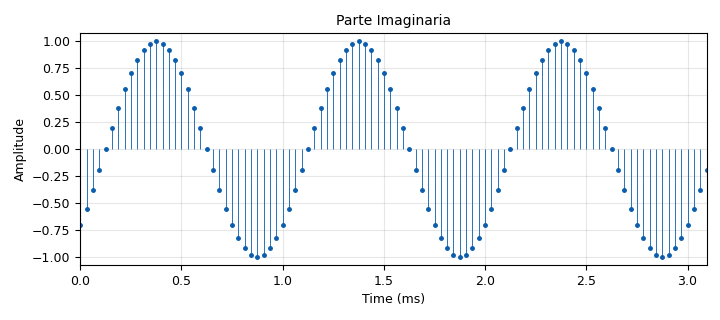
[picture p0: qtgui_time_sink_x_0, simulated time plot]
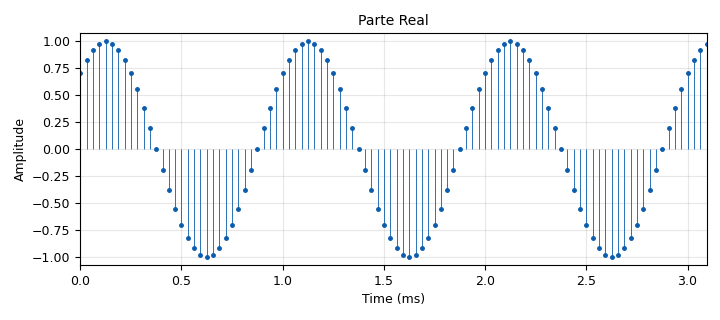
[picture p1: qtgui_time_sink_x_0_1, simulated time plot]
options:
  parameters:
    author: user
    generate_options: qt_gui
    id: xcomplextofloat
    output_language: python
    title: Not titled yet
  states: {}

blocks:
- name: samp_rate
  id: variable
  parameters:
    value: '32000'
  states: {}
- name: analog_sig_source_x_0
  id: analog_sig_source_x
  parameters:
    amp: '1'
    freq: '1000'
    offset: '0'
    phase: '0'
    samp_rate: samp_rate
    type: complex
    waveform: analog.GR_COS_WAVE
  states: {}
- name: blocks_complex_to_float_0
  id: blocks_complex_to_float
  parameters: {}
  states: {}
- name: blocks_throttle_0
  id: blocks_throttle
  parameters:
    samples_per_second: samp_rate
    type: complex
  states: {}
- name: qtgui_time_sink_x_0
  id: qtgui_time_sink_x
  parameters:
    ctrlpanel: 'True'
    grid: 'True'
    name: Parte Imaginaria
    size: '100'
    srate: samp_rate
    stemplot: 'True'
    type: float
  states: {}
- name: qtgui_time_sink_x_0_1
  id: qtgui_time_sink_x
  parameters:
    color1: red
    ctrlpanel: 'True'
    grid: 'True'
    name: Parte Real
    size: '100'
    srate: samp_rate
    stemplot: 'True'
    type: float
  states: {}

connections:
- [analog_sig_source_x_0, '0', blocks_throttle_0, '0']
- [blocks_complex_to_float_0, '0', qtgui_time_sink_x_0_1, '0']
- [blocks_complex_to_float_0, '1', qtgui_time_sink_x_0, '0']
- [blocks_throttle_0, '0', blocks_complex_to_float_0, '0']

metadata:
  file_format: 1
  grc_version: 3.10.12.0
